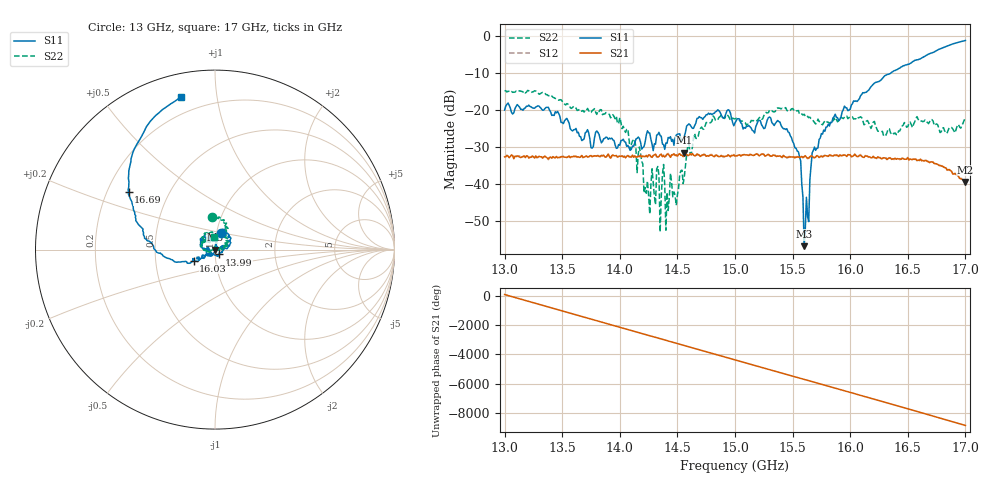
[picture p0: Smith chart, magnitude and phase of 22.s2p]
!Keysight Technologies,P9374A,MY57211807,A.19.30.04
!Date: Friday, May 01, 2026 14:12:12
!Correction: S11(C  2-Port  )
!S21(C  2-Port  )
!S12(C  2-Port  )
!S22(C  2-Port  )
!S2P File: Measurements: S11, S21, S12, S22:
# Hz S  RI  R 50
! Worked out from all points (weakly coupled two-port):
!   401 points, 13 GHz to 17 GHz, reference 50 ohm
!   highest |S21| = -31.43 dB at 14.56 GHz (marker M1); lowest = -39.3 dB at 17 GHz (marker M2)
!   lowest |S11| = -56.7 dB at 15.6 GHz (marker M3), VSWR 1.00, Z = 49.9 - j0.126 ohm
!   |S11| at or under -10 dB: start of sweep to 16.35 GHz
!   |S22| runs from -52.9 to -14.7 dB; largest |S21 - S12| = 0.0011
!   S11 on the Smith chart (normalised r, x): 13 GHz: 1.05, +0.20; 13.99 GHz: 1.04, -0.06; 16.03 GHz: 0.78, -0.10; 16.69 GHz: 0.29, +0.28; 17 GHz: 0.11, +0.80
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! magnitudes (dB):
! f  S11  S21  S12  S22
! 13 GHz  -20.0  -32.6  -32.4  -14.8
! 13.37 GHz  -19.2  -32.9  -32.8  -15.8
! 13.67 GHz  -28.2  -32.2  -32.2  -20.3
! 13.99 GHz  -29.3  -32.5  -32.4  -23.5
! 14.18 GHz  -28.6  -32.1  -32.1  -31.6
! 14.24 GHz  -25.6  -32.6  -32.6  -39.1
! 14.34 GHz  -26.0  -32.5  -32.4  -37.6
! 14.41 GHz  -28.9  -31.9  -31.9  -42.2
! 14.56 GHz  -27.1  -31.4  -31.3  -37.9
! 14.71 GHz  -22.0  -32.2  -32.3  -24.5
! 15 GHz  -23.4  -32.4  -32.3  -22.4
! 15.46 GHz  -25.8  -32.7  -32.8  -20.3
! 15.55 GHz  -31.2  -32.6  -32.6  -20.1
! 15.6 GHz  -56.7  -32.5  -32.5  -21.1
! 15.62 GHz  -43.5  -32.7  -32.6  -21.9
! 15.67 GHz  -31.5  -32.4  -32.5  -22.5
! 15.79 GHz  -24.6  -32.3  -32.3  -22.8
! 16.03 GHz  -17.5  -32.2  -32.2  -22.4
! 16.34 GHz  -10.2  -32.9  -32.9  -25.0
! 16.69 GHz  -4.8  -34.1  -34.0  -23.1
! 16.83 GHz  -2.9  -35.5  -35.4  -26.0
! 17 GHz  -1.2  -39.3  -39.5  -22.8
